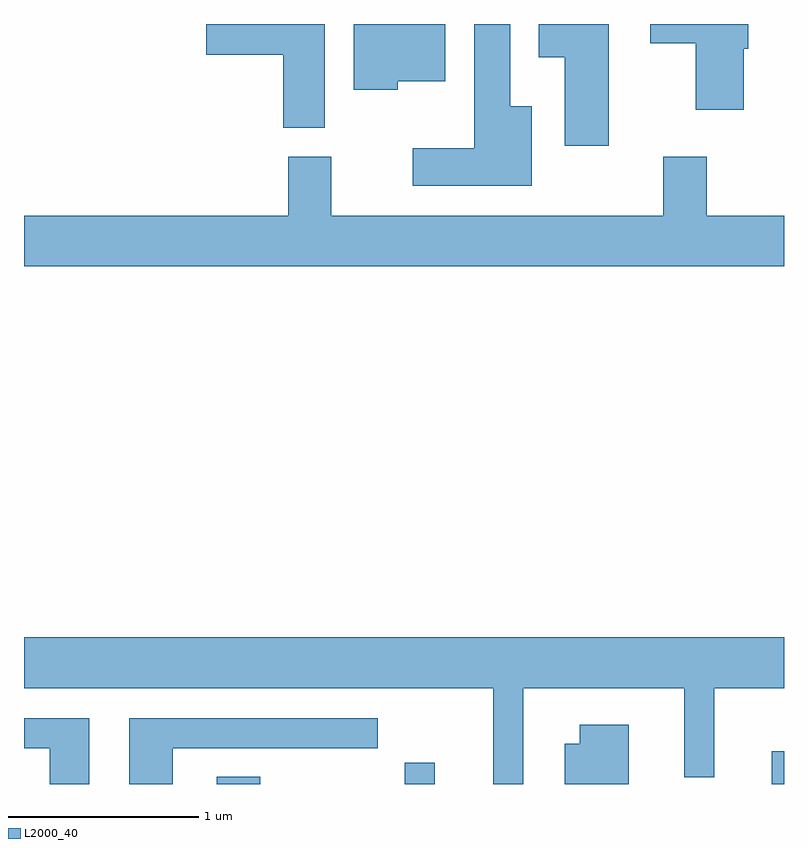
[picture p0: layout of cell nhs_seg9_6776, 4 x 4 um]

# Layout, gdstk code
import gdstk
lib = gdstk.Library(unit=1e-6, precision=1e-09)
def R(c, l, rs):  # rectangles x0, y0, x1, y1
    for r in rs: c.add(gdstk.rectangle(r[:2], r[2:], *l))
def P(c, l, *ps):  # polygons
    for p in ps: c.add(gdstk.Polygon(p, *l))
L2000_40 = (2000, 40)

nhs_seg9_6776 = lib.new_cell('nhs_seg9_6776')
R(nhs_seg9_6776, L2000_40, [(386.626,1982.432,386.854,1982.469), (387.616,1982.432,387.774,1982.543), (389.546,1982.432,389.611,1982.604)])
P(nhs_seg9_6776, L2000_40, [(388.284,1985.999),(388.169,1985.999),(388.169,1986.432),(387.981,1986.432),(387.981,1985.779),(387.656,1985.779),(387.656,1985.581),(388.284,1985.581)],
  [(387.579,1986.131),(387.829,1986.131),(387.829,1986.432),(387.346,1986.432),(387.346,1986.086),(387.579,1986.086)],
  [(387.194,1986.432),(386.571,1986.432),(386.571,1986.271),(386.976,1986.271),(386.976,1985.886),(387.194,1985.886)],
  [(388.689,1986.432),(388.321,1986.432),(388.321,1986.256),(388.456,1986.256),(388.456,1985.791),(388.689,1985.791)],
  [(389.399,1986.301),(389.424,1986.301),(389.424,1986.432),(388.906,1986.432),(388.906,1986.331),(389.146,1986.331),(389.146,1985.981),(389.399,1985.981)],
  [(389.611,1985.424),(389.204,1985.424),(389.204,1985.734),(388.976,1985.734),(388.976,1985.424),(387.229,1985.424),(387.229,1985.734),(387.001,1985.734),(387.001,1985.424),(385.611,1985.424),(385.611,1985.156),(389.611,1985.156)],
  [(388.239,1982.936),(389.086,1982.936),(389.086,1982.468),(389.244,1982.468),(389.244,1982.936),(389.611,1982.936),(389.611,1983.204),(385.611,1983.204),(385.611,1982.936),(388.081,1982.936),(388.081,1982.432),(388.239,1982.432)],
  [(386.394,1982.621),(387.473,1982.621),(387.473,1982.779),(386.166,1982.779),(386.166,1982.432),(386.394,1982.432)],
  [(385.954,1982.779),(385.611,1982.779),(385.611,1982.621),(385.746,1982.621),(385.746,1982.432),(385.954,1982.432)],
  [(388.794,1982.744),(388.536,1982.744),(388.536,1982.644),(388.456,1982.644),(388.456,1982.432),(388.794,1982.432)])

lib.write_gds('nhs_seg9_6776.gds')
